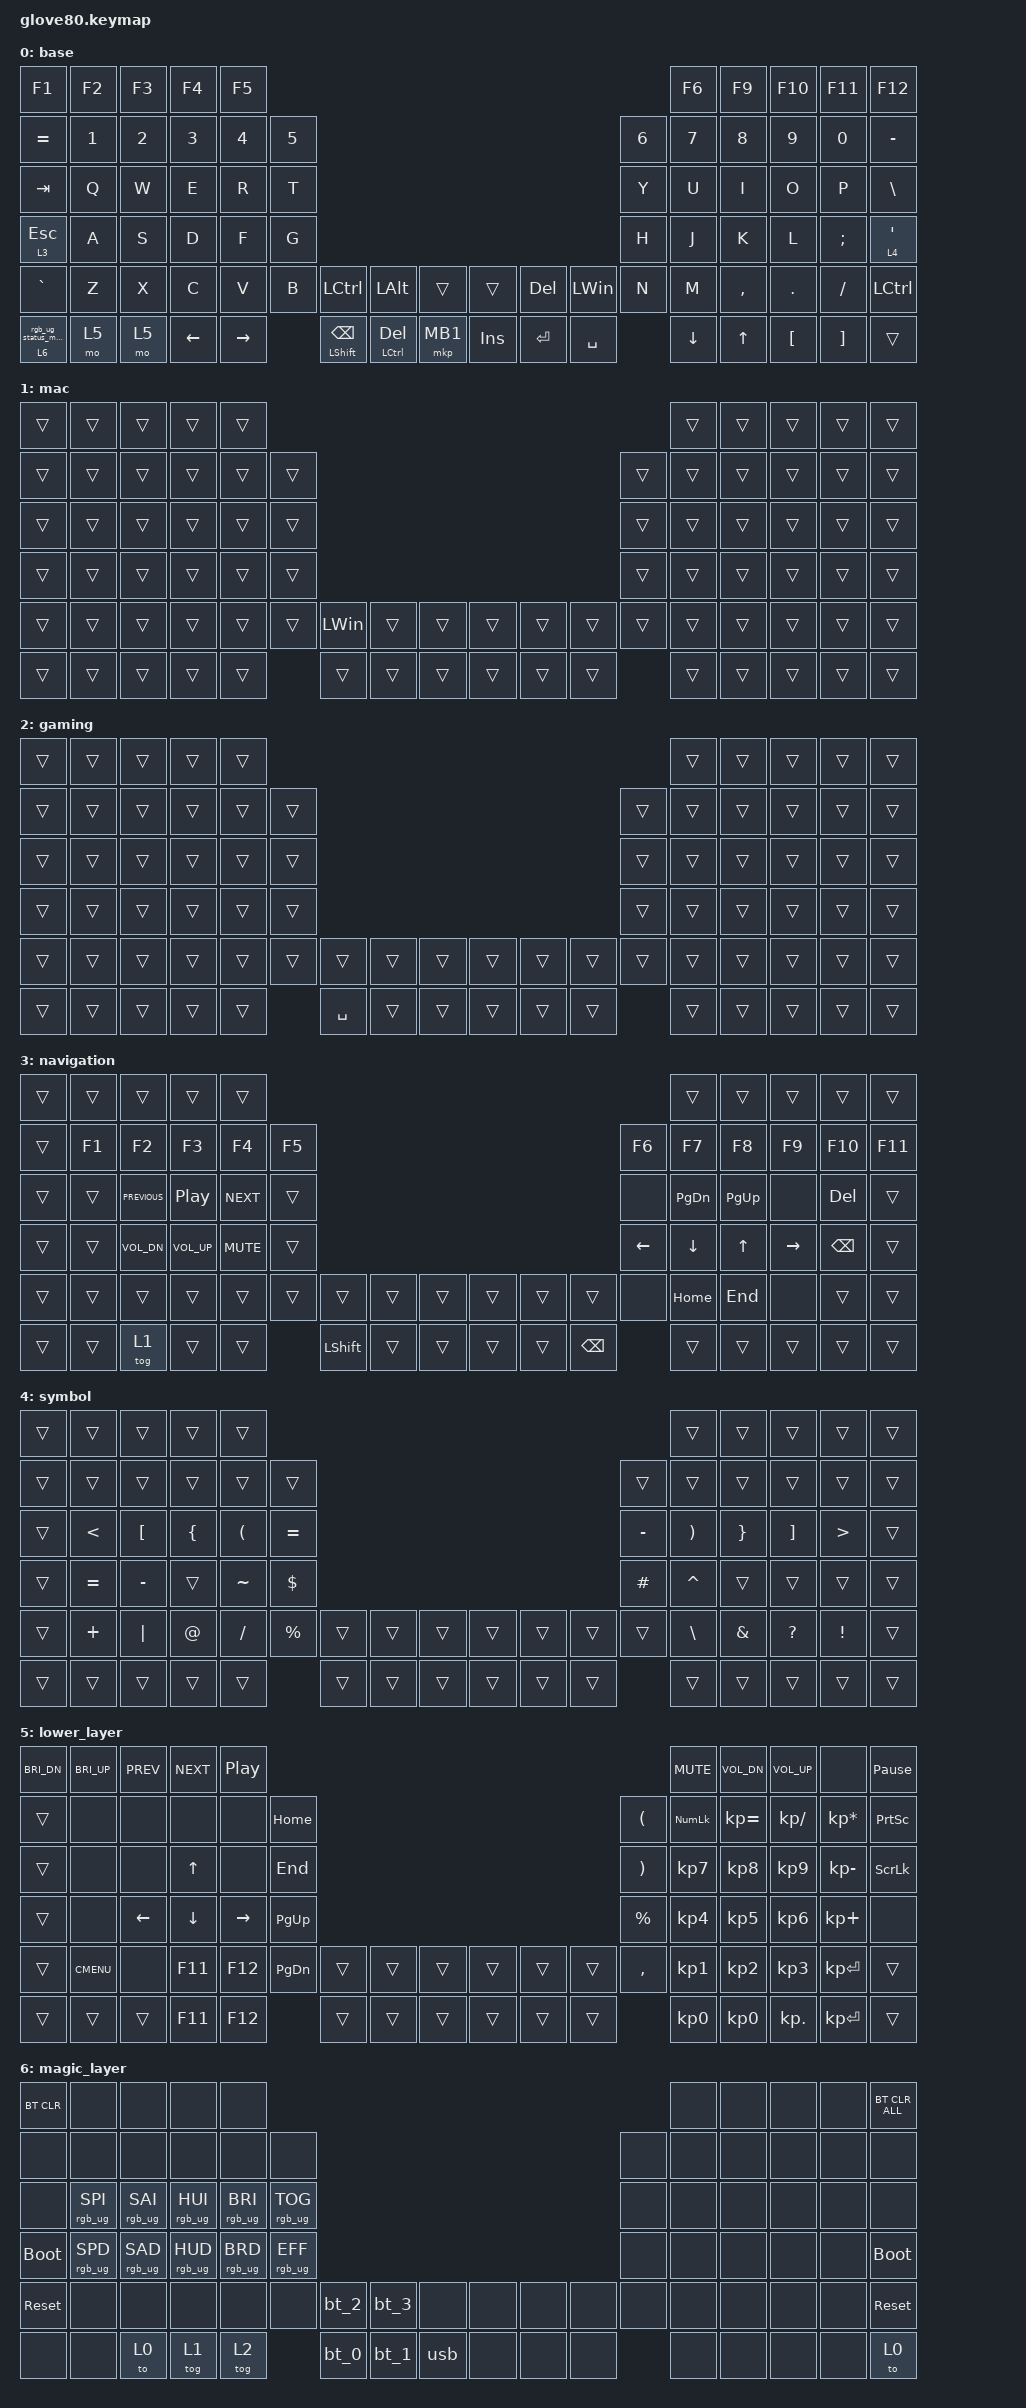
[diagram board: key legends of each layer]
/*
 * Copyright (c) 2020 The ZMK Contributors
 *
 * SPDX-License-Identifier: MIT
 */

#include <behaviors.dtsi>
#include <dt-bindings/zmk/bt.h>
#include <dt-bindings/zmk/keys.h>
#include <dt-bindings/zmk/outputs.h>
#include <dt-bindings/zmk/pointing.h>
#include <dt-bindings/zmk/rgb.h>

#define HYPER LC(LS(LG(LALT)))

// layers

#define DEFAULT 0
#define LOWER 1
#define MAGIC 2
#define FACTORY_TEST 3

/ {
    behaviors {
        // For the "layer" key, it'd nice to be able to use it as either a shift or a toggle.
        // Configure it as a tap dance, so the first tap (or hold) is a &mo and the second tap is a &to

        layer_td: tap_dance_0 {
            compatible = "zmk,behavior-tap-dance";
            label = "LAYER_TAP_DANCE";
            #binding-cells = <0>;
            tapping-term-ms = <200>;
            bindings = <&mo 5>, <&to 5>;
        };

        magic: magic_hold_tap {
            compatible = "zmk,behavior-hold-tap";
            label = "MAGIC_HOLD_TAP";
            #binding-cells = <2>;
            flavor = "tap-preferred";
            tapping-term-ms = <200>;
            bindings = <&mo>, <&rgb_ug_status_macro>;
        };
    };

    macros {
        rgb_ug_status_macro: rgb_ug_status_macro_0 {
            label = "RGB_UG_STATUS";
            compatible = "zmk,behavior-macro";
            #binding-cells = <0>;
            bindings = <&rgb_ug RGB_STATUS>;
        };

        bt_0: bt_profile_macro_0 {
            label = "BT_0";
            compatible = "zmk,behavior-macro";
            #binding-cells = <0>;
            bindings = <&out OUT_BLE &bt BT_SEL 0 &to 1>;
        };

        bt_1: bt_profile_macro_1 {
            label = "BT_1";
            compatible = "zmk,behavior-macro";
            #binding-cells = <0>;
            bindings = <&out OUT_BLE &bt BT_SEL 1 &to 0>;
        };

        bt_2: bt_profile_macro_2 {
            label = "BT_2";
            compatible = "zmk,behavior-macro";
            #binding-cells = <0>;
            bindings = <&out OUT_BLE &bt BT_SEL 2 &to 0>;
        };

        bt_3: bt_profile_macro_3 {
            label = "BT_3";
            compatible = "zmk,behavior-macro";
            #binding-cells = <0>;
            bindings = <&out OUT_BLE &bt BT_SEL 3 &to 0>;
        };

        usb: usb {
            compatible = "zmk,behavior-macro";
            #binding-cells = <0>;
            bindings = <&out OUT_USB &to 0>;
            label = "USB";
        };
    };

    keymap {
        compatible = "zmk,keymap";

        base {
            // ---------------------------------------------------------------------------------------------------------------------------------
            // |  F1   |  F2 |  F3 |  F4  |  F5  |                                                               |  F6   |  F7   |  F8  |   F9  |  F10 |
            // |  =    |  1  |  2  |  3   |  4   |  5   |                                                 |  6   |   7   |   8   |  9   |   0   |   -  |
            // |  TAB  |  Q  |  W  |  E   |  R   |  T   |                                                 |  Y   |   U   |   I   |  O   |   P   |   \  |
            // |  ESC  |  A  |  S  |  D   |  F   |  G   |                                                 |  H   |   J   |   K   |  L   |   ;   |   '  |
            // |   `   |  Z  |  X  |  C   |  V   |  B   | LSHFT | LCTRL | LOWER | | LGUI  | RCTRL | RSHFT |  N   |   M   |   ,   |  .   |   /   | PGUP |
            // | MAGIC | HOME| END | LEFT | RIGHT|      | BSPC  | DEL   | LALT  | | RALT  | RET   | SPACE |      |  UP   | DOWN  |  [   |   ]   | PGDN |

            bindings = <
&kp F1        &kp F2  &kp F3  &kp F4    &kp F5                                                                                                              &kp F6    &kp F9     &kp F10   &kp F11   &kp F12
&kp EQUAL     &kp N1  &kp N2  &kp N3    &kp N4     &kp N5                                                                                           &kp N6  &kp N7    &kp N8     &kp N9    &kp N0    &kp MINUS
&kp TAB       &kp Q   &kp W   &kp E     &kp R      &kp T                                                                                            &kp Y   &kp U     &kp I      &kp O     &kp P     &kp BSLH
&lt 3 ESCAPE  &kp A   &kp S   &kp D     &kp F      &kp G                                                                                            &kp H   &kp J     &kp K      &kp L     &kp SEMI  &lt 4 SINGLE_QUOTE
&kp GRAVE     &kp Z   &kp X   &kp C     &kp V      &kp B   &kp LCTRL                 &kp LEFT_ALT      &trans    &trans      &kp DEL  &kp LEFT_WIN  &kp N   &kp M     &kp COMMA  &kp DOT   &kp FSLH  &kp LCTRL
&magic 6 0    &mo 5   &mo 5   &kp LEFT  &kp RIGHT          &mt LEFT_SHIFT BACKSPACE  &mt LCTRL DELETE  &mkp MB1  &kp INSERT  &kp RET  &kp SPACE             &kp DOWN  &kp UP     &kp LBKT  &kp RBKT  &trans
            >;
        };

        mac {
            bindings = <
&trans  &trans  &trans  &trans  &trans                                                                        &trans  &trans  &trans  &trans  &trans
&trans  &trans  &trans  &trans  &trans  &trans                                                        &trans  &trans  &trans  &trans  &trans  &trans
&trans  &trans  &trans  &trans  &trans  &trans                                                        &trans  &trans  &trans  &trans  &trans  &trans
&trans  &trans  &trans  &trans  &trans  &trans                                                        &trans  &trans  &trans  &trans  &trans  &trans
&trans  &trans  &trans  &trans  &trans  &trans  &kp LEFT_WIN  &trans  &trans  &trans  &trans  &trans  &trans  &trans  &trans  &trans  &trans  &trans
&trans  &trans  &trans  &trans  &trans          &trans        &trans  &trans  &trans  &trans  &trans          &trans  &trans  &trans  &trans  &trans
            >;
        };

        gaming {
            bindings = <
&trans  &trans  &trans  &trans  &trans                                                                     &trans  &trans  &trans  &trans  &trans
&trans  &trans  &trans  &trans  &trans  &trans                                                     &trans  &trans  &trans  &trans  &trans  &trans
&trans  &trans  &trans  &trans  &trans  &trans                                                     &trans  &trans  &trans  &trans  &trans  &trans
&trans  &trans  &trans  &trans  &trans  &trans                                                     &trans  &trans  &trans  &trans  &trans  &trans
&trans  &trans  &trans  &trans  &trans  &trans  &trans     &trans  &trans  &trans  &trans  &trans  &trans  &trans  &trans  &trans  &trans  &trans
&trans  &trans  &trans  &trans  &trans          &kp SPACE  &trans  &trans  &trans  &trans  &trans          &trans  &trans  &trans  &trans  &trans
            >;
        };

        navigation {
            bindings = <
&trans  &trans  &trans          &trans            &trans                                                                                       &trans     &trans       &trans     &trans         &trans
&trans  &kp F1  &kp F2          &kp F3            &kp F4      &kp F5                                                                 &kp F6    &kp F7     &kp F8       &kp F9     &kp F10        &kp F11
&trans  &trans  &kp C_PREVIOUS  &kp C_PLAY_PAUSE  &kp C_NEXT  &trans                                                                 &none     &kp PG_DN  &kp PAGE_UP  &none      &kp DEL        &trans
&trans  &trans  &kp C_VOL_DN    &kp C_VOL_UP      &kp K_MUTE  &trans                                                                 &kp LEFT  &kp DOWN   &kp UP       &kp RIGHT  &kp BACKSPACE  &trans
&trans  &trans  &trans          &trans            &trans      &trans  &trans          &trans  &trans  &trans  &trans  &trans         &none     &kp HOME   &kp END      &none      &trans         &trans
&trans  &trans  &tog 1          &trans            &trans              &kp LEFT_SHIFT  &trans  &trans  &trans  &trans  &kp BACKSPACE            &trans     &trans       &trans     &trans         &trans
            >;
        };

        symbol {
            bindings = <
&trans  &trans         &trans            &trans          &trans                                                                                        &trans                 &trans           &trans             &trans            &trans
&trans  &trans         &trans            &trans          &trans                &trans                                                       &trans     &trans                 &trans           &trans             &trans            &trans
&trans  &kp LESS_THAN  &kp LEFT_BRACKET  &kp LEFT_BRACE  &kp LEFT_PARENTHESIS  &kp EQUAL                                                    &kp MINUS  &kp RIGHT_PARENTHESIS  &kp RIGHT_BRACE  &kp RIGHT_BRACKET  &kp GREATER_THAN  &trans
&trans  &kp EQUAL      &kp MINUS         &trans          &kp TILDE             &kp DOLLAR                                                   &kp POUND  &kp CARET              &trans           &trans             &trans            &trans
&trans  &kp PLUS       &kp PIPE          &kp AT_SIGN     &kp SLASH             &kp PERCENT  &trans  &trans  &trans  &trans  &trans  &trans  &trans     &kp BACKSLASH          &kp AMPERSAND    &kp QUESTION       &kp EXCLAMATION   &trans
&trans  &trans         &trans            &trans          &trans                             &trans  &trans  &trans  &trans  &trans  &trans             &trans                 &trans           &trans             &trans            &trans
            >;
        };

        lower_layer {
            bindings = <
&kp C_BRI_DN  &kp C_BRI_UP  &kp C_PREV  &kp C_NEXT  &kp C_PP                                                                         &kp C_MUTE  &kp C_VOL_DN  &kp C_VOL_UP   &none            &kp PAUSE_BREAK
&trans        &none         &none       &none       &none      &kp HOME                                                   &kp LPAR   &kp KP_NUM  &kp KP_EQUAL  &kp KP_DIVIDE  &kp KP_MULTIPLY  &kp PSCRN
&trans        &none         &none       &kp UP      &none      &kp END                                                    &kp RPAR   &kp KP_N7   &kp KP_N8     &kp KP_N9      &kp KP_MINUS     &kp SLCK
&trans        &none         &kp LEFT    &kp DOWN    &kp RIGHT  &kp PG_UP                                                  &kp PRCNT  &kp KP_N4   &kp KP_N5     &kp KP_N6      &kp KP_PLUS      &none
&trans        &kp K_CMENU   &none       &kp F11     &kp F12    &kp PG_DN  &trans  &trans  &trans  &trans  &trans  &trans  &kp COMMA  &kp KP_N1   &kp KP_N2     &kp KP_N3      &kp KP_ENTER     &trans
&trans        &trans        &trans      &kp F11     &kp F12               &trans  &trans  &trans  &trans  &trans  &trans             &kp KP_N0   &kp KP_N0     &kp KP_DOT     &kp KP_ENTER     &trans
            >;
        };

        magic_layer {
            bindings = <
&bt BT_CLR   &none            &none            &none            &none                                                                              &none  &none  &none  &none  &bt BT_CLR_ALL
&none        &none            &none            &none            &none            &none                                                      &none  &none  &none  &none  &none  &none
&none        &rgb_ug RGB_SPI  &rgb_ug RGB_SAI  &rgb_ug RGB_HUI  &rgb_ug RGB_BRI  &rgb_ug RGB_TOG                                            &none  &none  &none  &none  &none  &none
&bootloader  &rgb_ug RGB_SPD  &rgb_ug RGB_SAD  &rgb_ug RGB_HUD  &rgb_ug RGB_BRD  &rgb_ug RGB_EFF                                            &none  &none  &none  &none  &none  &bootloader
&sys_reset   &none            &none            &none            &none            &none            &bt_2  &bt_3  &none  &none  &none  &none  &none  &none  &none  &none  &none  &sys_reset
&none        &none            &to 0            &tog 1           &tog 2                            &bt_0  &bt_1  &usb   &none  &none  &none         &none  &none  &none  &none  &to 0
            >;
        };
    };
};
